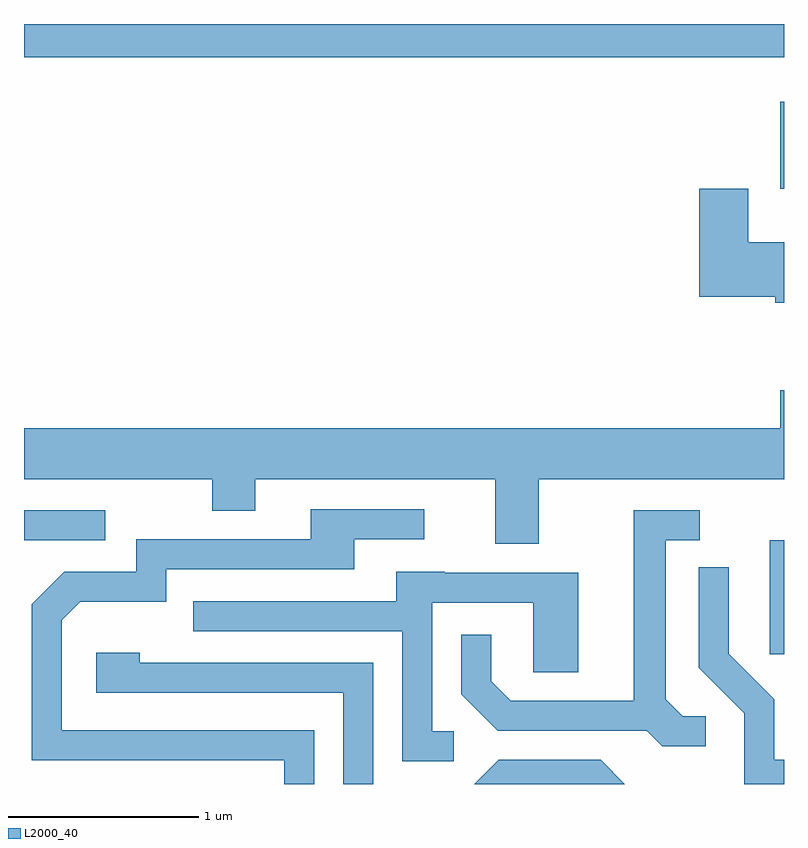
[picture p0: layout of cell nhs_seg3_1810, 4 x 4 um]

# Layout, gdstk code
import gdstk
lib = gdstk.Library(unit=1e-6, precision=1e-09)
def R(c, l, rs):  # rectangles x0, y0, x1, y1
    for r in rs: c.add(gdstk.rectangle(r[:2], r[2:], *l))
def P(c, l, *ps):  # polygons
    for p in ps: c.add(gdstk.Polygon(p, *l))
L2000_40 = (2000, 40)

nhs_seg3_1810 = lib.new_cell('nhs_seg3_1810')
R(nhs_seg3_1810, L2000_40, [(241.536,1200.576,241.611,1201.174), (237.611,1201.176,238.038,1201.334), (241.591,1203.026,241.611,1203.484), (237.611,1203.716,241.611,1203.892)])
P(nhs_seg3_1810, L2000_40, [(241.611,1202.744),(241.424,1202.744),(241.424,1203.024),(241.166,1203.024),(241.166,1202.456),(241.566,1202.456),(241.566,1202.426),(241.611,1202.426)],
  [(240.319,1201.496),(241.611,1201.496),(241.611,1201.964),(241.591,1201.964),(241.591,1201.764),(237.611,1201.764),(237.611,1201.496),(238.601,1201.496),(238.601,1201.331),(238.829,1201.331),(238.829,1201.496),(240.091,1201.496),(240.091,1201.156),(240.319,1201.156)],
  [(239.139,1200.174),(237.809,1200.174),(237.809,1200.754),(237.907,1200.851),(238.359,1200.851),(238.359,1201.021),(239.349,1201.021),(239.349,1201.181),(239.718,1201.181),(239.718,1201.339),(239.121,1201.339),(239.121,1201.179),(238.201,1201.179),(238.201,1201.009),(237.824,1201.009),(237.651,1200.837),(237.651,1200.016),(238.981,1200.016),(238.981,1199.892),(239.139,1199.892)],
  [(241.198,1200.249),(241.077,1200.249),(240.989,1200.337),(240.989,1201.176),(241.168,1201.176),(241.168,1201.334),(240.821,1201.334),(240.821,1200.329),(240.172,1200.329),(240.069,1200.432),(240.069,1200.678),(239.911,1200.678),(239.911,1200.364),(240.104,1200.171),(240.889,1200.171),(240.969,1200.091),(241.198,1200.091)],
  [(241.611,1200.019),(241.559,1200.019),(241.559,1200.337),(241.319,1200.577),(241.319,1201.033),(241.161,1201.033),(241.161,1200.504),(241.401,1200.264),(241.401,1199.892),(241.611,1199.892)],
  [(239.873,1200.169),(239.759,1200.169),(239.759,1200.846),(240.291,1200.846),(240.291,1200.481),(240.529,1200.481),(240.529,1201.004),(239.825,1201.004),(239.825,1201.009),(239.571,1201.009),(239.571,1200.854),(238.503,1200.854),(238.503,1200.696),(239.601,1200.696),(239.601,1200.011),(239.873,1200.011)],
  [(239.449,1200.529),(238.219,1200.529),(238.219,1200.584),(237.991,1200.584),(237.991,1200.371),(239.291,1200.371),(239.291,1199.892),(239.449,1199.892)],
  [(240.647,1200.019),(240.109,1200.019),(239.982,1199.892),(240.774,1199.892)])

lib.write_gds('nhs_seg3_1810.gds')
